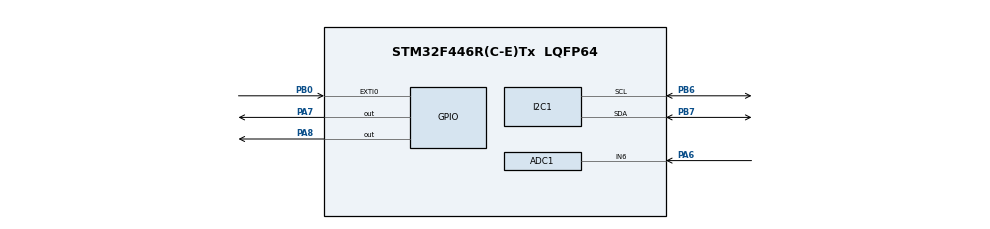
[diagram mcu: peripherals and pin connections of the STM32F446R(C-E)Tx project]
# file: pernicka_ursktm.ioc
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ADC1.Channel-0\#ChannelRegularConversion=ADC_CHANNEL_6
ADC1.NbrOfConversion=1
ADC1.NbrOfConversionFlag=1
ADC1.Rank-0\#ChannelRegularConversion=1
ADC1.SamplingTime-0\#ChannelRegularConversion=ADC_SAMPLETIME_3CYCLES
ADC1.master=1
Mcu.Family=STM32F4
Mcu.Name=STM32F446R(C-E)Tx
Mcu.Package=LQFP64
NVIC.EXTI0_IRQn=true\:0\:0\:false\:false\:true\:true\:true\:true
NVIC.I2C1_ER_IRQn=true\:0\:0\:false\:false\:true\:true\:true\:true
NVIC.I2C1_EV_IRQn=true\:0\:0\:false\:false\:true\:true\:true\:true
NVIC.PriorityGroup=NVIC_PRIORITYGROUP_4
NVIC.TIM2_IRQn=true\:0\:0\:false\:false\:true\:true\:true\:true
NVIC.TIM3_IRQn=true\:0\:0\:false\:false\:true\:true\:true\:true
PA13.Mode=Serial_Wire
PA13.Signal=SYS_JTMS-SWDIO
PA14.Mode=Serial_Wire
PA14.Signal=SYS_JTCK-SWCLK
PA6.Signal=ADCx_IN6
PA7.Signal=GPIO_Output
PA8.Signal=GPIO_Output
PB0.GPIO_ModeDefaultEXTI=GPIO_MODE_IT_RISING_FALLING
PB0.GPIO_PuPd=GPIO_PULLUP
PB0.Signal=GPXTI0
PB6.Mode=I2C
PB6.Signal=I2C1_SCL
PB7.Mode=I2C
PB7.Signal=I2C1_SDA
ProjectManager.HeapSize=0x200
ProjectManager.StackSize=0x400
ProjectManager.TargetToolchain=STM32CubeIDE
RCC.CortexFreq_Value=16000000
RCC.USBFreq_Value=96000000
RCC.VCOOutputFreq_Value=192000000
SH.ADCx_IN6.0=ADC1_IN6,IN6
TIM2.Period=50
TIM2.Prescaler=16000
TIM3.Period=500
TIM3.Prescaler=16000
VP_TIM2_VS_OPM.Mode=OPM_bit
VP_TIM3_VS_OPM.Mode=OPM_bit
board=custom

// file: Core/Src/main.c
/* USER CODE BEGIN Header */
/**
  ******************************************************************************
  * @file           : main.c
  * @brief          : Main program body
  ******************************************************************************
  * @attention
  *
  * Copyright (c) 2025 STMicroelectronics.
  * All rights reserved.
  *
  * This software is licensed under terms that can be found in the LICENSE file
  * in the root directory of this software component.
  * If no LICENSE file comes with this software, it is provided AS-IS.
  *
  ******************************************************************************
  */
/* USER CODE END Header */
#include "main.h"
#include "adc.h"
#include "i2c.h"
#include "tim.h"
#include "gpio.h"
#include "string.h"
#include <stdio.h>

/* USER CODE BEGIN Includes */
#include "string.h"
#include <stdio.h>

  volatile uint8_t start_measurement = 0;
   volatile uint32_t adc_val = 0;
   float temperature =0.0;
   const float TEMP_THRESHOLD=30.0;

   ADC_HandleTypeDef hadc1;
   I2C_HandleTypeDef hi2c1;
   TIM_HandleTypeDef htim2;
   TIM_HandleTypeDef htim3;

   extern void LCD_Init(I2C_HandleTypeDef*hi2c);
    	  extern void LCD_SetCursor(uint8_t col, uint8_t row);
    	  extern void LCD_Print (char*str);

/* USER CODE END Includes */

/* USER CODE BEGIN 0 */
   void HAL_GPIO_EXTI_Callback(uint16_t GPIO_Pin){
     	if (GPIO_Pin == GPIO_PIN_0)
     	{
     	HAL_TIM_Base_Start_IT(&htim2);
     	}}
     void HAL_TIM_PeriodElapsedCallback(TIM_HandleTypeDef *htim){
     	  	if (htim-> Instance == TIM2){
     	  		HAL_TIM_Base_Stop_IT(&htim2);
     	  		if(HAL_GPIO_ReadPin(GPIOB, GPIO_PIN_0)== GPIO_PIN_RESET){
     	  			start_measurement = !start_measurement;
     	  			HAL_GPIO_TogglePin(GPIOA, GPIO_PIN_8);

     	  		}
     	  	}
     	  	if (htim -> Instance=TIM3){
     	  		HAL_GPIO_TogglePin(GPIOA, GPIO_PIN_7);
     	  	}
     	  }
/* USER CODE END 0 */

  /* MCU Configuration--------------------------------------------------------*/

  /* Reset of all peripherals, Initializes the Flash interface and the Systick. */

  /* Configure the system clock */

  /* USER CODE BEGIN SysInit */
void read_temperature(void) {
	HAL_ADC_Start(&hadc1);
	HAL_ADC_PollForConversion(&hadc1, HAL_MAX_DELAY);
	adc_val = HAL_ADC_GetValue(&hadc1);
	temperature = ((float)adc_val/4095.0) *3.3 * 100.0;
}
  /* USER CODE END SysInit */

  /* Initialize all configured peripherals */

  /* Infinite loop */
  /* USER CODE BEGIN WHILE */

int main (void) {
 	 HAL_Init();
  SystemClock_Config();
   MX_GPIO_Init();
   MX_ADC1_Init();
   MX_I2C1_Init();
   MX_TIM2_Init();
   MX_TIM3_Init();
	 LCD_Init(&hi2c1);
LCD_SetCursor(0,0);
LCD_Print ("Temp system");

 while (1)  {
	 if(start_measurement) {
		 read_temperature();
		 char buf[16];
		 printf(buf,16,"T=%.1f C", temperature);
		 LCD_SetCursor(0,1);
		 LCD_Print(buf);

		 if(temperature > TEMP_THRESHOLD) {
			 HAL_TIM_Base_Start_IT(&htim3);
		 } else {
		     HAL_TIM_Base_Stop_IT(&htim3);
			 HAL_GPIO_WritePin(GPIOA, GPIO_PIN_7, GPIO_PIN_RESET);

		 }

	 } else  {
		 LCD_SetCursor(0,1);
		 LCD_Print("Stopped");
			 HAL_TIM_Base_Stop_IT(&htim3);
			 HAL_GPIO_WritePin(GPIOA, GPIO_PIN_7, GPIO_PIN_RESET);

	 }
	 HAL_Delay(500);
 }
  }

    /* USER CODE END WHILE */

while (1) {
}

/* USER CO{DE BEGIN 4 */

 void SystemClock_Config(void){
 	   RCC_OscInitTypeDef RCC_OscInitStruct = {0};
 	   RCC_ClkInitTypeDef RCC_ClkInitStruct = {0};

 	   /** Configure the main internal regulator output voltage
 	   */
 	   __HAL_RCC_PWR_CLK_ENABLE();
 	   __HAL_PWR_VOLTAGESCALING_CONFIG(PWR_REGULATOR_VOLTAGE_SCALE3);

 	   /** Initializes the RCC Oscillators according to the specified parameters
 	   * in the RCC_OscInitTypeDef structure.
 	   */
 	   RCC_OscInitStruct.OscillatorType = RCC_OSCILLATORTYPE_HSI;
 	   RCC_OscInitStruct.HSIState = RCC_HSI_ON;
 	   RCC_OscInitStruct.HSICalibrationValue = RCC_HSICALIBRATION_DEFAULT;
 	   RCC_OscInitStruct.PLL.PLLState = RCC_PLL_NONE;
 	   if (HAL_RCC_OscConfig(&RCC_OscInitStruct) != HAL_OK)
 	   {
 	     Error_Handler();
 	   }

 	   /** Initializes the CPU, AHB and APB buses clocks
 	   */
 	   RCC_ClkInitStruct.ClockType = RCC_CLOCKTYPE_HCLK|RCC_CLOCKTYPE_SYSCLK
 	                               |RCC_CLOCKTYPE_PCLK1|RCC_CLOCKTYPE_PCLK2;
 	   RCC_ClkInitStruct.SYSCLKSource = RCC_SYSCLKSOURCE_HSI;
 	   RCC_ClkInitStruct.AHBCLKDivider = RCC_SYSCLK_DIV1;
 	   RCC_ClkInitStruct.APB1CLKDivider = RCC_HCLK_DIV1;
 	   RCC_ClkInitStruct.APB2CLKDivider = RCC_HCLK_DIV1;

 	   if (HAL_RCC_ClockConfig(&RCC_ClkInitStruct, FLASH_LATENCY_0) != HAL_OK)
 	   {
 	     Error_Handler();
 	   }
}

/* USER CODE END 4 */
